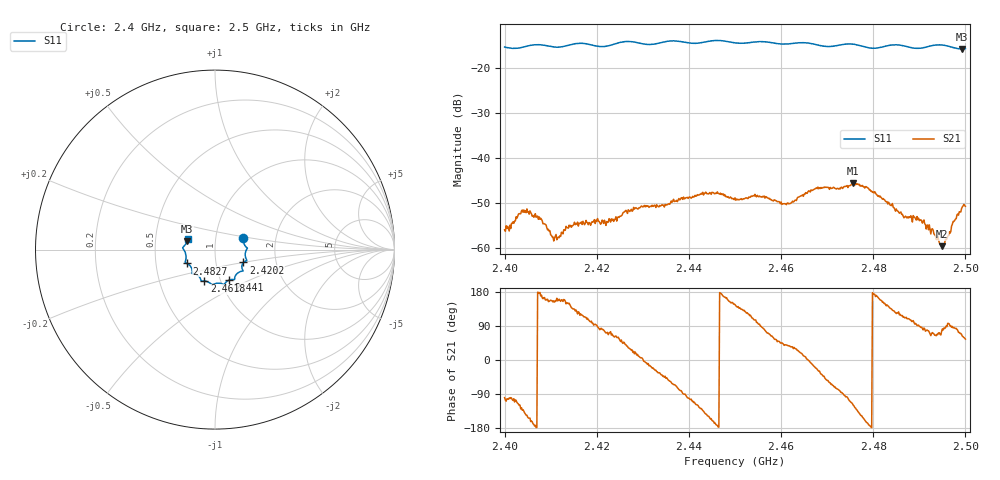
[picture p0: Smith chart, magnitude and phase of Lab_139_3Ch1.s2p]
# Hz S RI R 50
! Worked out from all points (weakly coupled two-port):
!   601 points, 2.4 GHz to 2.5 GHz, reference 50 ohm
!   highest |S21| = -45.69 dB at 2.4755 GHz (marker M1); lowest = -59.6 dB at 2.4948 GHz (marker M2)
!   lowest |S11| = -15.8 dB at 2.4992 GHz (marker M3), VSWR 1.39, Z = 36.5 + j3.65 ohm
!   |S11| at or under -10 dB: start of sweep to end of sweep
!   S12 and S22 are empty: the file has one direction only
!   S11 on the Smith chart (normalised r, x): 2.4 GHz: 1.36, +0.18; 2.4202 GHz: 1.36, -0.20; 2.441 GHz: 1.10, -0.39; 2.4618 GHz: 0.84, -0.30; 2.4827 GHz: 0.72, -0.12; 2.5 GHz: 0.73, +0.09
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2.4e9  0.1584 0.0628  -0.000257 -0.00156  0 0  0 0
2.404333e9  0.1707 0.0175  -0.00188 -0.00162  0 0  0 0
2.407667e9  0.1805 0.00745  -0.00208 6.3e-05  0 0  0 0
2.410833e9  0.1697 -0.0145  -0.00114 0.000587  0 0  0 0
2.416667e9  0.1772 -0.061  -0.000932 0.0017  0 0  0 0
2.420167e9  0.1585 -0.0713  0.000101 0.00211  0 0  0 0
2.433333e9  0.1116 -0.1508  0.00238 -0.00161  0 0  0 0
2.441e9  0.0789 -0.1697  -0.00139 -0.00339  0 0  0 0
2.445667e9  0.0507 -0.1947  -0.00387 -0.000964  0 0  0 0
2.45e9  0.0284 -0.1876  -0.00298 0.00201  0 0  0 0
2.4545e9  -0.0104 -0.1941  -0.00101 0.00362  0 0  0 0
2.461833e9  -0.0591 -0.1755  0.00247 0.00188  0 0  0 0
2.466667e9  -0.0789 -0.1683  0.00426 -0.000779  0 0  0 0
2.4755e9  -0.1274 -0.1322  -0.00224 -0.00469  0 0  0 0
2.478833e9  -0.129 -0.1071  -0.00452 -0.00102  0 0  0 0
2.482667e9  -0.1562 -0.0773  -0.00272 0.00183  0 0  0 0
2.483333e9  -0.1605 -0.0752  -0.00251 0.002  0 0  0 0
2.486833e9  -0.1636 -0.061  -0.000797 0.00205  0 0  0 0
2.490667e9  -0.1658 -0.0154  0.000215 0.00187  0 0  0 0
2.494833e9  -0.1793 0.0119  0.000273 0.00101  0 0  0 0
2.499167e9  -0.1546 0.0488  0.00104 0.00252  0 0  0 0
2.5e9  -0.1523 0.0608  0.00166 0.00238  0 0  0 0
